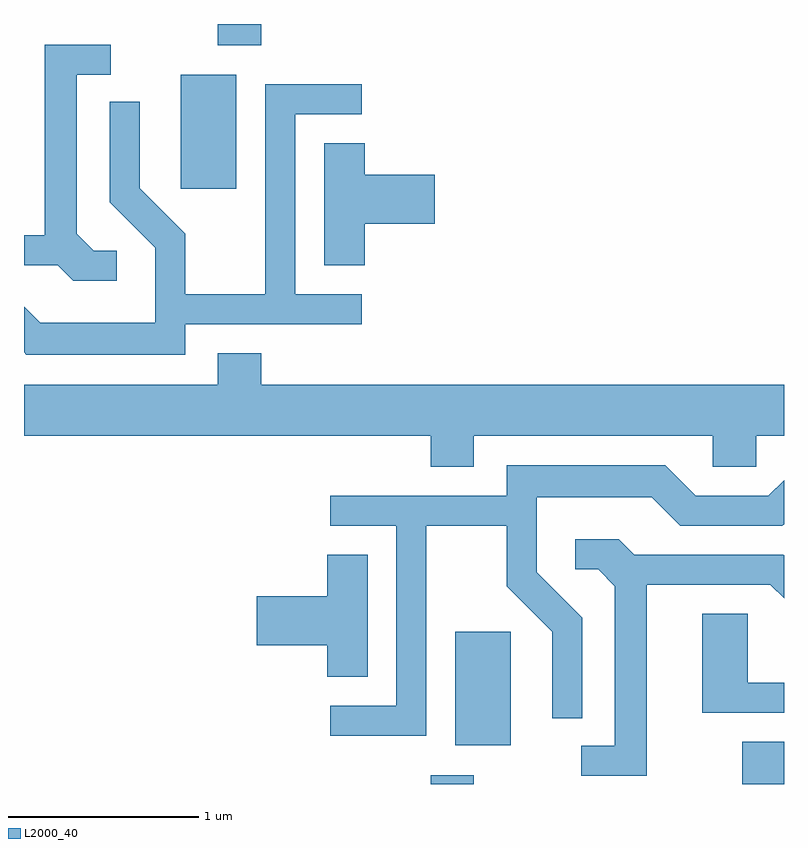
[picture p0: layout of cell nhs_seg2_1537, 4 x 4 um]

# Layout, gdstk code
import gdstk
lib = gdstk.Library(unit=1e-6, precision=1e-09)
def R(c, l, rs):  # rectangles x0, y0, x1, y1
    for r in rs: c.add(gdstk.rectangle(r[:2], r[2:], *l))
def P(c, l, *ps):  # polygons
    for p in ps: c.add(gdstk.Polygon(p, *l))
L2000_40 = (2000, 40)

nhs_seg2_1537 = lib.new_cell('nhs_seg2_1537')
R(nhs_seg2_1537, L2000_40, [(231.751,1059.802,231.979,1059.849), (233.391,1059.802,233.611,1060.024), (231.881,1060.006,232.174,1060.604), (230.436,1062.936,230.729,1063.534), (230.631,1063.691,230.859,1063.802)])
P(nhs_seg2_1537, L2000_40, [(230.098,1062.609),(229.977,1062.609),(229.889,1062.697),(229.889,1063.536),(230.068,1063.536),(230.068,1063.694),(229.721,1063.694),(229.721,1062.689),(229.611,1062.689),(229.611,1062.531),(229.789,1062.531),(229.869,1062.451),(230.098,1062.451)],
  [(230.459,1062.221),(231.388,1062.221),(231.388,1062.379),(231.039,1062.379),(231.039,1063.326),(231.388,1063.326),(231.388,1063.484),(230.881,1063.484),(230.881,1062.379),(230.459,1062.379),(230.459,1062.697),(230.219,1062.937),(230.219,1063.393),(230.061,1063.393),(230.061,1062.864),(230.301,1062.624),(230.301,1062.229),(229.697,1062.229),(229.611,1062.315),(229.611,1062.074),(229.624,1062.061),(230.459,1062.061)],
  [(231.404,1062.751),(231.774,1062.751),(231.774,1063.009),(231.404,1063.009),(231.404,1063.174),(231.191,1063.174),(231.191,1062.531),(231.404,1062.531)],
  [(231.979,1061.636),(233.236,1061.636),(233.236,1061.471),(233.464,1061.471),(233.464,1061.636),(233.611,1061.636),(233.611,1061.904),(230.859,1061.904),(230.859,1062.069),(230.631,1062.069),(230.631,1061.904),(229.611,1061.904),(229.611,1061.636),(231.751,1061.636),(231.751,1061.471),(231.979,1061.471)],
  [(231.729,1061.161),(232.151,1061.161),(232.151,1060.844),(232.391,1060.604),(232.391,1060.148),(232.549,1060.148),(232.549,1060.677),(232.309,1060.917),(232.309,1061.311),(232.914,1061.311),(233.064,1061.161),(233.602,1061.161),(233.611,1061.17),(233.611,1061.401),(233.529,1061.319),(233.147,1061.319),(232.987,1061.479),(232.151,1061.479),(232.151,1061.319),(231.223,1061.319),(231.223,1061.161),(231.571,1061.161),(231.571,1060.214),(231.223,1060.214),(231.223,1060.056),(231.729,1060.056)],
  [(232.889,1060.851),(233.539,1060.851),(233.611,1060.779),(233.611,1061.005),(233.607,1061.009),(232.822,1061.009),(232.742,1061.089),(232.513,1061.089),(232.513,1060.931),(232.634,1060.931),(232.721,1060.844),(232.721,1060.004),(232.543,1060.004),(232.543,1059.846),(232.889,1059.846)],
  [(231.419,1061.009),(231.206,1061.009),(231.206,1060.789),(230.836,1060.789),(230.836,1060.531),(231.206,1060.531),(231.206,1060.366),(231.419,1060.366)],
  [(233.611,1060.334),(233.419,1060.334),(233.419,1060.699),(233.181,1060.699),(233.181,1060.176),(233.611,1060.176)])

lib.write_gds('nhs_seg2_1537.gds')
